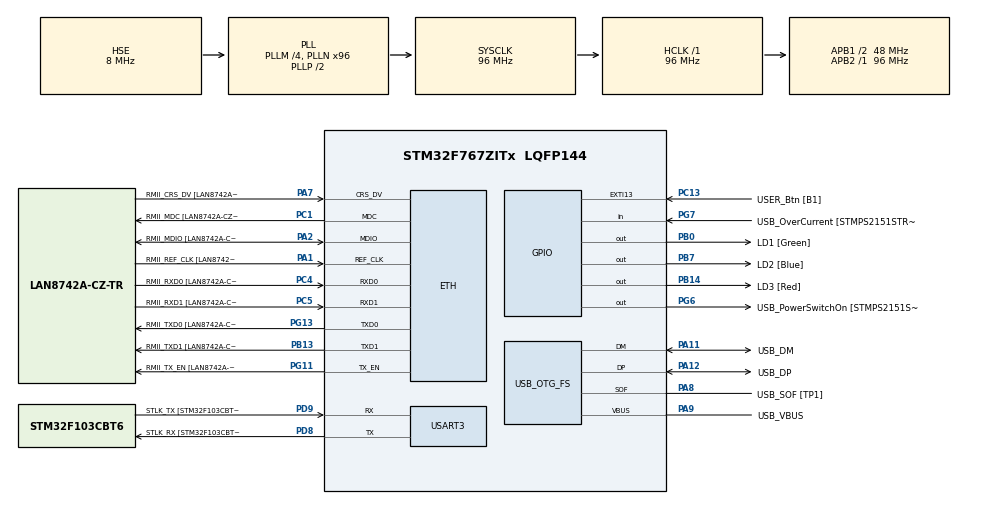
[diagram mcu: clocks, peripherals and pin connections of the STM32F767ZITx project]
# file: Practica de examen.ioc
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ETH.MediaInterface=HAL_ETH_RMII_MODE
ETH.PHY_Name=LAN8742A_PHY_ADDRESS
ETH.PHY_Value=0
ETH.PhyAddress=0
Mcu.Family=STM32F7
Mcu.Name=STM32F767ZITx
Mcu.Package=LQFP144
NVIC.PriorityGroup=NVIC_PRIORITYGROUP_4
PA1.GPIO_Label=RMII_REF_CLK [LAN8742A-CZ-TR_REFCLK0]
PA1.Mode=RMII
PA1.Signal=ETH_REF_CLK
PA10.GPIO_Label=USB_ID
PA10.Signal=USB_OTG_FS_ID
PA11.GPIO_Label=USB_DM
PA11.Mode=Device_Only
PA11.Signal=USB_OTG_FS_DM
PA12.GPIO_Label=USB_DP
PA12.Mode=Device_Only
PA12.Signal=USB_OTG_FS_DP
PA13.GPIO_Label=TMS
PA13.Mode=Serial_Wire
PA13.Signal=SYS_JTMS-SWDIO
PA14.GPIO_Label=TCK
PA14.Mode=Serial_Wire
PA14.Signal=SYS_JTCK-SWCLK
PA2.GPIO_Label=RMII_MDIO [LAN8742A-CZ-TR_MDIO]
PA2.Mode=RMII
PA2.Signal=ETH_MDIO
PA7.GPIO_Label=RMII_CRS_DV [LAN8742A-CZ-TR_CRS_DV]
PA7.Mode=RMII
PA7.Signal=ETH_CRS_DV
PA8.GPIO_Label=USB_SOF [TP1]
PA8.Mode=Activate_SOF_FS
PA8.Signal=USB_OTG_FS_SOF
PA9.GPIO_Label=USB_VBUS
PA9.Mode=Activate_VBUS
PA9.Signal=USB_OTG_FS_VBUS
PB0.GPIO_Label=LD1 [Green]
PB0.Signal=GPIO_Output
PB13.GPIO_Label=RMII_TXD1 [LAN8742A-CZ-TR_TXD1]
PB13.Mode=RMII
PB13.Signal=ETH_TXD1
PB14.GPIO_Label=LD3 [Red]
PB14.Signal=GPIO_Output
PB3.GPIO_Label=SWO
PB3.Signal=SYS_JTDO-SWO
PB7.GPIO_Label=LD2 [Blue]
PB7.Signal=GPIO_Output
PC1.GPIO_Label=RMII_MDC [LAN8742A-CZ-TR_MDC]
PC1.Mode=RMII
PC1.Signal=ETH_MDC
PC13.GPIO_Label=USER_Btn [B1]
PC13.Signal=GPXTI13
PC14/OSC32_IN.Mode=LSE-External-Oscillator
PC14/OSC32_IN.Signal=RCC_OSC32_IN
PC15/OSC32_OUT.Mode=LSE-External-Oscillator
PC15/OSC32_OUT.Signal=RCC_OSC32_OUT
PC4.GPIO_Label=RMII_RXD0 [LAN8742A-CZ-TR_RXD0]
PC4.Mode=RMII
PC4.Signal=ETH_RXD0
PC5.GPIO_Label=RMII_RXD1 [LAN8742A-CZ-TR_RXD1]
PC5.Mode=RMII
PC5.Signal=ETH_RXD1
PD8.GPIO_Label=STLK_RX [STM32F103CBT6_PA3]
PD8.Mode=Asynchronous
PD8.Signal=USART3_TX
PD9.GPIO_Label=STLK_TX [STM32F103CBT6_PA2]
PD9.Mode=Asynchronous
PD9.Signal=USART3_RX
PG11.GPIO_Label=RMII_TX_EN [LAN8742A-CZ-TR_TXEN]
PG11.Mode=RMII
PG11.Signal=ETH_TX_EN
PG13.GPIO_Label=RMII_TXD0 [LAN8742A-CZ-TR_TXD0]
PG13.Mode=RMII
PG13.Signal=ETH_TXD0
PG6.GPIO_Label=USB_PowerSwitchOn [STMPS2151STR_EN]
PG6.Signal=GPIO_Output
PG7.GPIO_Label=USB_OverCurrent [STMPS2151STR_FAULT]
PG7.Signal=GPIO_Input
PH0/OSC_IN.GPIO_Label=MCO [STM32F103CBT6_PA8]
PH0/OSC_IN.Mode=HSE-External-Clock-Source
PH0/OSC_IN.Signal=RCC_OSC_IN
PH1/OSC_OUT.Mode=HSE-External-Clock-Source
PH1/OSC_OUT.Signal=RCC_OSC_OUT
ProjectManager.HeapSize=0x200
ProjectManager.StackSize=0x400
ProjectManager.TargetToolchain=STM32CubeIDE
RCC.48MHZClocksFreq_Value=24000000
RCC.AHBFreq_Value=96000000
RCC.APB1CLKDivider=RCC_HCLK_DIV2
RCC.APB1Freq_Value=48000000
RCC.APB1TimFreq_Value=96000000
RCC.APB2Freq_Value=96000000
RCC.APB2TimFreq_Value=96000000
RCC.CortexFreq_Value=96000000
RCC.HCLKFreq_Value=96000000
RCC.HSE_VALUE=8000000
RCC.HSI_VALUE=16000000
RCC.PLLM=4
RCC.PLLMUL=RCC_PLL_MUL9
RCC.PLLN=96
RCC.PLLQ=4
RCC.PRESCALERUSB=RCC_USBCLKSOURCE_PLL_DIV1_5
RCC.SYSCLKFreq_VALUE=96000000
RCC.SYSCLKSource=RCC_SYSCLKSOURCE_PLLCLK
RCC.SYSCLKSourceVirtual=RCC_SYSCLKSOURCE_PLLCLK
RCC.USBFreq_Value=48000000
RCC.VCOOutputFreq_Value=192000000
USART3.VirtualMode-Asynchronous=VM_ASYNC
USB_OTG_FS.VirtualMode=Device_Only
board=NUCLEO-F767ZI

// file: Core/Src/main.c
/* USER CODE BEGIN Header */
/**
  ******************************************************************************
  * @file           : main.c
  * @brief          : Main program body
  ******************************************************************************
  * @attention
  *
  * Copyright (c) 2025 STMicroelectronics.
  * All rights reserved.
  *
  * This software is licensed under terms that can be found in the LICENSE file
  * in the root directory of this software component.
  * If no LICENSE file comes with this software, it is provided AS-IS.
  *
  ******************************************************************************
  */
/* USER CODE END Header */
#include "main.h"
#include "string.h"

/* USER CODE BEGIN PD */
#define DELAY 200
/* USER CODE END PD */

#if defined ( __ICCARM__ ) /*!< IAR Compiler */
#pragma location=0x2007c000
ETH_DMADescTypeDef  DMARxDscrTab[ETH_RX_DESC_CNT]; /* Ethernet Rx DMA Descriptors */
#pragma location=0x2007c0a0
ETH_DMADescTypeDef  DMATxDscrTab[ETH_TX_DESC_CNT]; /* Ethernet Tx DMA Descriptors */

#elif defined ( __CC_ARM )  /* MDK ARM Compiler */

__attribute__((at(0x2007c000))) ETH_DMADescTypeDef  DMARxDscrTab[ETH_RX_DESC_CNT]; /* Ethernet Rx DMA Descriptors */
__attribute__((at(0x2007c0a0))) ETH_DMADescTypeDef  DMATxDscrTab[ETH_TX_DESC_CNT]; /* Ethernet Tx DMA Descriptors */

#elif defined ( __GNUC__ ) /* GNU Compiler */

ETH_DMADescTypeDef DMARxDscrTab[ETH_RX_DESC_CNT] __attribute__((section(".RxDecripSection"))); /* Ethernet Rx DMA Descriptors */
ETH_DMADescTypeDef DMATxDscrTab[ETH_TX_DESC_CNT] __attribute__((section(".TxDecripSection")));   /* Ethernet Tx DMA Descriptors */
#endif

ETH_TxPacketConfig TxConfig;

ETH_HandleTypeDef heth;

UART_HandleTypeDef huart3;

PCD_HandleTypeDef hpcd_USB_OTG_FS;

void SystemClock_Config(void);
static void MX_GPIO_Init(void);
static void MX_ETH_Init(void);
static void MX_USART3_UART_Init(void);
static void MX_USB_OTG_FS_PCD_Init(void);

int main(void)
{

  /* MCU Configuration--------------------------------------------------------*/

  /* Reset of all peripherals, Initializes the Flash interface and the Systick. */
  HAL_Init();

  /* Configure the system clock */
  SystemClock_Config();

  /* Initialize all configured peripherals */
  MX_GPIO_Init();
  MX_ETH_Init();
  MX_USART3_UART_Init();
  MX_USB_OTG_FS_PCD_Init();
  /* USER CODE BEGIN 2 */
  int contador = 0;
  int button_pressed = 0;
  int last_contador = -1;
  /* USER CODE END 2 */
  uint8_t B1[]=" Botón presionado 1 veces \n\r";
  uint8_t B2[]=" Botón presionado 2 veces \n\r";
  uint8_t B3[]=" Botón presionado 3 veces \n\r";
  uint8_t B4[]=" Botón presionado 4 veces \n\r";
  uint8_t B5[]=" Botón presionado 5 veces \n\r";
  uint8_t B6[]=" Botón presionado 6 veces \n\r";
  uint8_t L1[]=" LED1 encendido \n\r";
  uint8_t L2[]=" LED2 encendido \n\r";
  uint8_t L3[]=" LED3 encendido \n\r";
  uint8_t L1o[]=" LED1 apagado \n\r";
  uint8_t L2o[]=" LED2 apagado \n\r";
  uint8_t L3o[]=" LED3 apagado \n\r";

  /* Infinite loop */
  /* USER CODE BEGIN WHILE */
  while (1)
  {
	   if (HAL_GPIO_ReadPin(GPIOC, GPIO_PIN_13) == GPIO_PIN_RESET) {
	        if (!button_pressed) {
	            contador++;
	            HAL_Delay(DELAY);
	            if (contador > 5) {
	                contador = 0;
	            }
	            button_pressed = 1;
	        }
	    } else {
	        button_pressed = 0;
	    }

	    // Solo ejecutar si hay un cambio en el contador
	    if (contador != last_contador) {
	        last_contador = contador; // Actualiza el último estado impreso

	        switch (contador) {
	            case 0:
	                HAL_GPIO_WritePin(GPIOB, LD1_Pin, GPIO_PIN_SET);
	                HAL_UART_Transmit(&huart3, B1, strlen(B1), HAL_MAX_DELAY);
	                HAL_UART_Transmit(&huart3, L1, strlen(L1), HAL_MAX_DELAY);
	                break;
	            case 1:
	                HAL_GPIO_WritePin(GPIOB, LD2_Pin, GPIO_PIN_SET);
	                HAL_UART_Transmit(&huart3, B2, strlen(B2), HAL_MAX_DELAY);
	                HAL_UART_Transmit(&huart3, L2, strlen(L2), HAL_MAX_DELAY);
	                break;
	            case 2:
	                HAL_GPIO_WritePin(GPIOB, LD3_Pin, GPIO_PIN_SET);
	                HAL_UART_Transmit(&huart3, B3, strlen(B3), HAL_MAX_DELAY);
	                HAL_UART_Transmit(&huart3, L3, strlen(L3), HAL_MAX_DELAY);
	                break;
	            case 3:
	                HAL_GPIO_WritePin(GPIOB, LD3_Pin, GPIO_PIN_RESET);
	                HAL_UART_Transmit(&huart3, B4, strlen(B4), HAL_MAX_DELAY);
	                HAL_UART_Transmit(&huart3, L3o, strlen(L3o), HAL_MAX_DELAY);
	                break;
	            case 4:
	                HAL_GPIO_WritePin(GPIOB, LD2_Pin, GPIO_PIN_RESET);
	                HAL_UART_Transmit(&huart3, B5, strlen(B5), HAL_MAX_DELAY);
	                HAL_UART_Transmit(&huart3, L2o, strlen(L2o), HAL_MAX_DELAY);
	                break;
	            case 5:
	                HAL_GPIO_WritePin(GPIOB, LD1_Pin, GPIO_PIN_RESET);
	                HAL_UART_Transmit(&huart3, B6, strlen(B6), HAL_MAX_DELAY);
	                HAL_UART_Transmit(&huart3, L1o, strlen(L1o), HAL_MAX_DELAY);
	                break;
	        }
	    }

    /* USER CODE END WHILE */

  }
}

void SystemClock_Config(void)
{
  RCC_OscInitTypeDef RCC_OscInitStruct = {0};
  RCC_ClkInitTypeDef RCC_ClkInitStruct = {0};

  /** Configure LSE Drive Capability
  */
  HAL_PWR_EnableBkUpAccess();

  /** Configure the main internal regulator output voltage
  */
  __HAL_RCC_PWR_CLK_ENABLE();
  __HAL_PWR_VOLTAGESCALING_CONFIG(PWR_REGULATOR_VOLTAGE_SCALE3);

  /** Initializes the RCC Oscillators according to the specified parameters
  * in the RCC_OscInitTypeDef structure.
  */
  RCC_OscInitStruct.OscillatorType = RCC_OSCILLATORTYPE_HSE;
  RCC_OscInitStruct.HSEState = RCC_HSE_BYPASS;
  RCC_OscInitStruct.PLL.PLLState = RCC_PLL_ON;
  RCC_OscInitStruct.PLL.PLLSource = RCC_PLLSOURCE_HSE;
  RCC_OscInitStruct.PLL.PLLM = 4;
  RCC_OscInitStruct.PLL.PLLN = 96;
  RCC_OscInitStruct.PLL.PLLP = RCC_PLLP_DIV2;
  RCC_OscInitStruct.PLL.PLLQ = 4;
  RCC_OscInitStruct.PLL.PLLR = 2;
  if (HAL_RCC_OscConfig(&RCC_OscInitStruct) != HAL_OK)
  {
    Error_Handler();
  }

  /** Activate the Over-Drive mode
  */
  if (HAL_PWREx_EnableOverDrive() != HAL_OK)
  {
    Error_Handler();
  }

  /** Initializes the CPU, AHB and APB buses clocks
  */
  RCC_ClkInitStruct.ClockType = RCC_CLOCKTYPE_HCLK|RCC_CLOCKTYPE_SYSCLK
                              |RCC_CLOCKTYPE_PCLK1|RCC_CLOCKTYPE_PCLK2;
  RCC_ClkInitStruct.SYSCLKSource = RCC_SYSCLKSOURCE_PLLCLK;
  RCC_ClkInitStruct.AHBCLKDivider = RCC_SYSCLK_DIV1;
  RCC_ClkInitStruct.APB1CLKDivider = RCC_HCLK_DIV2;
  RCC_ClkInitStruct.APB2CLKDivider = RCC_HCLK_DIV1;

  if (HAL_RCC_ClockConfig(&RCC_ClkInitStruct, FLASH_LATENCY_3) != HAL_OK)
  {
    Error_Handler();
  }
}

static void MX_ETH_Init(void)
{

   static uint8_t MACAddr[6];

  heth.Instance = ETH;
  MACAddr[0] = 0x00;
  MACAddr[1] = 0x80;
  MACAddr[2] = 0xE1;
  MACAddr[3] = 0x00;
  MACAddr[4] = 0x00;
  MACAddr[5] = 0x00;
  heth.Init.MACAddr = &MACAddr[0];
  heth.Init.MediaInterface = HAL_ETH_RMII_MODE;
  heth.Init.TxDesc = DMATxDscrTab;
  heth.Init.RxDesc = DMARxDscrTab;
  heth.Init.RxBuffLen = 1524;

  if (HAL_ETH_Init(&heth) != HAL_OK)
  {
    Error_Handler();
  }

  memset(&TxConfig, 0 , sizeof(ETH_TxPacketConfig));
  TxConfig.Attributes = ETH_TX_PACKETS_FEATURES_CSUM | ETH_TX_PACKETS_FEATURES_CRCPAD;
  TxConfig.ChecksumCtrl = ETH_CHECKSUM_IPHDR_PAYLOAD_INSERT_PHDR_CALC;
  TxConfig.CRCPadCtrl = ETH_CRC_PAD_INSERT;

}

static void MX_USART3_UART_Init(void)
{

  huart3.Instance = USART3;
  huart3.Init.BaudRate = 115200;
  huart3.Init.WordLength = UART_WORDLENGTH_8B;
  huart3.Init.StopBits = UART_STOPBITS_1;
  huart3.Init.Parity = UART_PARITY_NONE;
  huart3.Init.Mode = UART_MODE_TX_RX;
  huart3.Init.HwFlowCtl = UART_HWCONTROL_NONE;
  huart3.Init.OverSampling = UART_OVERSAMPLING_16;
  huart3.Init.OneBitSampling = UART_ONE_BIT_SAMPLE_DISABLE;
  huart3.AdvancedInit.AdvFeatureInit = UART_ADVFEATURE_NO_INIT;
  if (HAL_UART_Init(&huart3) != HAL_OK)
  {
    Error_Handler();
  }

}

static void MX_USB_OTG_FS_PCD_Init(void)
{

  hpcd_USB_OTG_FS.Instance = USB_OTG_FS;
  hpcd_USB_OTG_FS.Init.dev_endpoints = 6;
  hpcd_USB_OTG_FS.Init.speed = PCD_SPEED_FULL;
  hpcd_USB_OTG_FS.Init.dma_enable = DISABLE;
  hpcd_USB_OTG_FS.Init.phy_itface = PCD_PHY_EMBEDDED;
  hpcd_USB_OTG_FS.Init.Sof_enable = ENABLE;
  hpcd_USB_OTG_FS.Init.low_power_enable = DISABLE;
  hpcd_USB_OTG_FS.Init.lpm_enable = DISABLE;
  hpcd_USB_OTG_FS.Init.vbus_sensing_enable = ENABLE;
  hpcd_USB_OTG_FS.Init.use_dedicated_ep1 = DISABLE;
  if (HAL_PCD_Init(&hpcd_USB_OTG_FS) != HAL_OK)
  {
    Error_Handler();
  }

}

static void MX_GPIO_Init(void)
{
  GPIO_InitTypeDef GPIO_InitStruct = {0};

  /* GPIO Ports Clock Enable */
  __HAL_RCC_GPIOC_CLK_ENABLE();
  __HAL_RCC_GPIOH_CLK_ENABLE();
  __HAL_RCC_GPIOA_CLK_ENABLE();
  __HAL_RCC_GPIOB_CLK_ENABLE();
  __HAL_RCC_GPIOD_CLK_ENABLE();
  __HAL_RCC_GPIOG_CLK_ENABLE();

  /*Configure GPIO pin Output Level */
  HAL_GPIO_WritePin(GPIOB, LD1_Pin|LD3_Pin|LD2_Pin, GPIO_PIN_RESET);

  /*Configure GPIO pin Output Level */
  HAL_GPIO_WritePin(USB_PowerSwitchOn_GPIO_Port, USB_PowerSwitchOn_Pin, GPIO_PIN_RESET);

  /*Configure GPIO pin : USER_Btn_Pin */
  GPIO_InitStruct.Pin = USER_Btn_Pin;
  GPIO_InitStruct.Mode = GPIO_MODE_IT_RISING;
  GPIO_InitStruct.Pull = GPIO_NOPULL;
  HAL_GPIO_Init(USER_Btn_GPIO_Port, &GPIO_InitStruct);

  /*Configure GPIO pins : LD1_Pin LD3_Pin LD2_Pin */
  GPIO_InitStruct.Pin = LD1_Pin|LD3_Pin|LD2_Pin;
  GPIO_InitStruct.Mode = GPIO_MODE_OUTPUT_PP;
  GPIO_InitStruct.Pull = GPIO_NOPULL;
  GPIO_InitStruct.Speed = GPIO_SPEED_FREQ_LOW;
  HAL_GPIO_Init(GPIOB, &GPIO_InitStruct);

  /*Configure GPIO pin : USB_PowerSwitchOn_Pin */
  GPIO_InitStruct.Pin = USB_PowerSwitchOn_Pin;
  GPIO_InitStruct.Mode = GPIO_MODE_OUTPUT_PP;
  GPIO_InitStruct.Pull = GPIO_NOPULL;
  GPIO_InitStruct.Speed = GPIO_SPEED_FREQ_LOW;
  HAL_GPIO_Init(USB_PowerSwitchOn_GPIO_Port, &GPIO_InitStruct);

  /*Configure GPIO pin : USB_OverCurrent_Pin */
  GPIO_InitStruct.Pin = USB_OverCurrent_Pin;
  GPIO_InitStruct.Mode = GPIO_MODE_INPUT;
  GPIO_InitStruct.Pull = GPIO_NOPULL;
  HAL_GPIO_Init(USB_OverCurrent_GPIO_Port, &GPIO_InitStruct);

}

void Error_Handler(void)
{
  __disable_irq();
  while (1)
  {
  }
}
